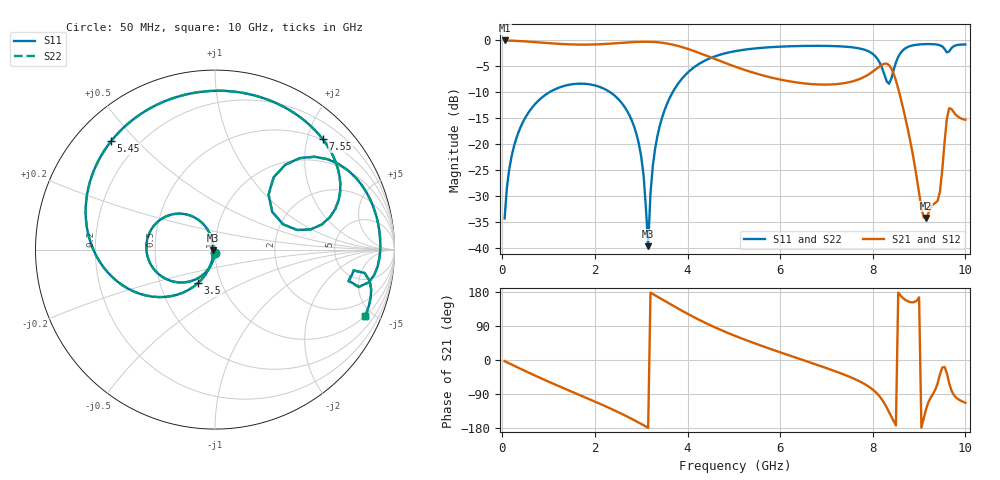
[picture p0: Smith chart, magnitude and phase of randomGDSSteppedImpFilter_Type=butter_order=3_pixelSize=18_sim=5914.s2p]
! freq	dB(S11)	phase(S11)	dB(S12)	phase(S12)
!  dB(S21)	phase(S21)	dB(S22)	phase(S22)
!S-par simulation data
#  GHz  S  DB  R 50
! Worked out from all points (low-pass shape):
!   200 points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, 50 MHz to 10 GHz, reference 50 ohm
!   highest |S21| = 0.00 dB at 50 MHz (marker M1); lowest = -34.3 dB at 9.15 GHz (marker M2)
!   |S21| within 3 dB of the highest: start of sweep to 4.425 GHz
!   lowest |S11| = -39.7 dB at 3.15 GHz (marker M3), VSWR 1.02, Z = 49.1 - j0.424 ohm
!   |S11| at or under -10 dB: start of sweep to 1.016 GHz; 2.33 GHz to 3.68 GHz (1.35 GHz wide, 44.9 % of centre)
!   |S22| runs from -39.6 to -0.7 dB; largest |S21 - S12| = 0
!   S11 on the Smith chart (normalised r, x): 50 MHz: 1.00, -0.04; 3.5 GHz: 0.77, -0.30; 5.45 GHz: 0.10, +0.42; 7.55 GHz: 0.49, +2.29; 10 GHz: 1.00, -4.55
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0.05  -34.34 -92.9  -0.00 -3.0  -0.00 -3.0  -34.33 -92.9
0.2  -22.38 -102.2  -0.05 -11.9  -0.05 -11.9  -22.38 -102.2
0.5  -14.85 -120.0  -0.19 -29.4  -0.19 -29.4  -14.85 -120.0
1.75  -8.35 173.1  -0.81 -96.6  -0.81 -96.6  -8.35 173.1
2.8  -15.51 116.0  -0.33 -155.7  -0.33 -155.7  -15.51 116.1
3  -22.42 107.0  -0.26 -168.7  -0.26 -168.7  -22.42 107.0
3.15  -39.68 -155.4  -0.26 -178.9  -0.26 -178.9  -39.58 -155.8
3.25  -24.21 -105.5  -0.29 174.2  -0.29 174.2  -24.21 -105.7
3.4  -16.48 -110.9  -0.40 163.6  -0.40 163.6  -16.48 -111.0
3.5  -13.55 -116.9  -0.51 156.6  -0.51 156.6  -13.55 -117.0
4.15  -5.12 -159.3  -2.08 112.3  -2.08 112.3  -5.12 -159.3
5.05  -2.03 152.0  -5.13 62.5  -5.13 62.5  -2.03 151.9
5.45  -1.55 133.7  -6.30 43.9  -6.30 43.9  -1.55 133.7
6.7  -1.04 81.9  -8.44 -8.8  -8.44 -8.8  -1.04 81.9
7.55  -1.32 45.6  -7.93 -47.0  -7.93 -47.0  -1.32 45.6
8  -2.61 21.7  -6.01 -78.0  -6.01 -78.0  -2.61 21.7
8.35  -8.36 33.4  -4.75 -137.2  -4.75 -137.2  -8.35 33.4
8.6  -2.40 43.1  -11.04 170.1  -11.04 170.1  -2.40 43.0
9.15  -0.71 6.9  -34.26 -130.3  -34.26 -130.3  -0.71 6.8
9.45  -0.93 -9.0  -29.17 -38.4  -29.17 -38.4  -0.94 -9.2
9.65  -2.13 -8.6  -13.07 -61.1  -13.07 -61.1  -2.16 -8.5
10  -0.77 -23.7  -15.29 -112.8  -15.29 -112.8  -0.77 -23.7
